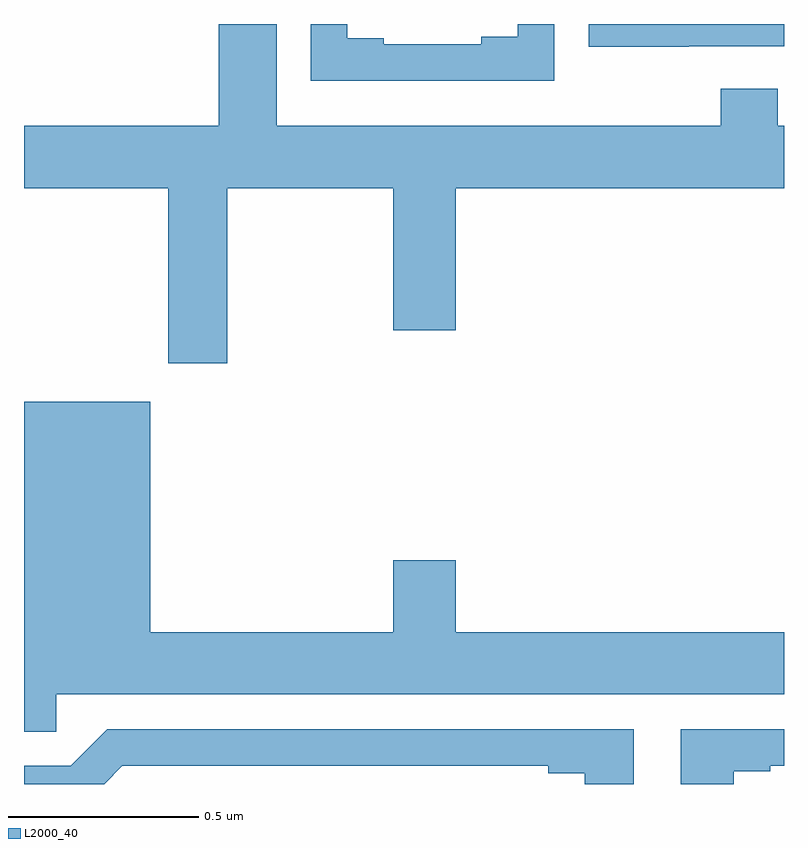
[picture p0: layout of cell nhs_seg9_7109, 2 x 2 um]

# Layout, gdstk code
import gdstk
lib = gdstk.Library(unit=1e-6, precision=1e-09)
def P(c, l, *ps):  # polygons
    for p in ps: c.add(gdstk.Polygon(p, *l))
L2000_40 = (2000, 40)

nhs_seg9_7109 = lib.new_cell('nhs_seg9_7109')
P(nhs_seg9_7109, L2000_40, [(200.535,1215.068),(200.972,1215.068),(200.972,1214.694),(201.136,1214.694),(201.136,1215.068),(202,1215.068),(202,1215.232),(201.984,1215.232),(201.984,1215.33),(201.833,1215.33),(201.833,1215.232),(200.665,1215.232),(200.665,1215.5),(200.513,1215.5),(200.513,1215.232),(200,1215.232),(200,1215.068),(200.38,1215.068),(200.38,1214.607),(200.535,1214.607)],
  [(201.396,1215.5),(201.299,1215.5),(201.299,1215.467),(201.203,1215.467),(201.203,1215.447),(200.947,1215.447),(200.947,1215.462),(200.851,1215.462),(200.851,1215.5),(200.754,1215.5),(200.754,1215.351),(201.396,1215.351)],
  [(201.749,1215.441),(202,1215.441),(202,1215.5),(201.486,1215.5),(201.486,1215.44),(201.749,1215.44)],
  [(200.085,1213.736),(202,1213.736),(202,1213.9),(201.136,1213.9),(201.136,1214.089),(200.972,1214.089),(200.972,1213.9),(200.332,1213.9),(200.332,1214.506),(200,1214.506),(200,1213.638),(200.085,1213.638)],
  [(201.868,1213.533),(201.964,1213.533),(201.964,1213.548),(202,1213.548),(202,1213.644),(201.728,1213.644),(201.728,1213.5),(201.868,1213.5)],
  [(200.259,1213.548),(201.38,1213.548),(201.38,1213.528),(201.476,1213.528),(201.476,1213.5),(201.604,1213.5),(201.604,1213.644),(200.219,1213.644),(200.123,1213.548),(200,1213.548),(200,1213.5),(200.211,1213.5)])

lib.write_gds('nhs_seg9_7109.gds')
